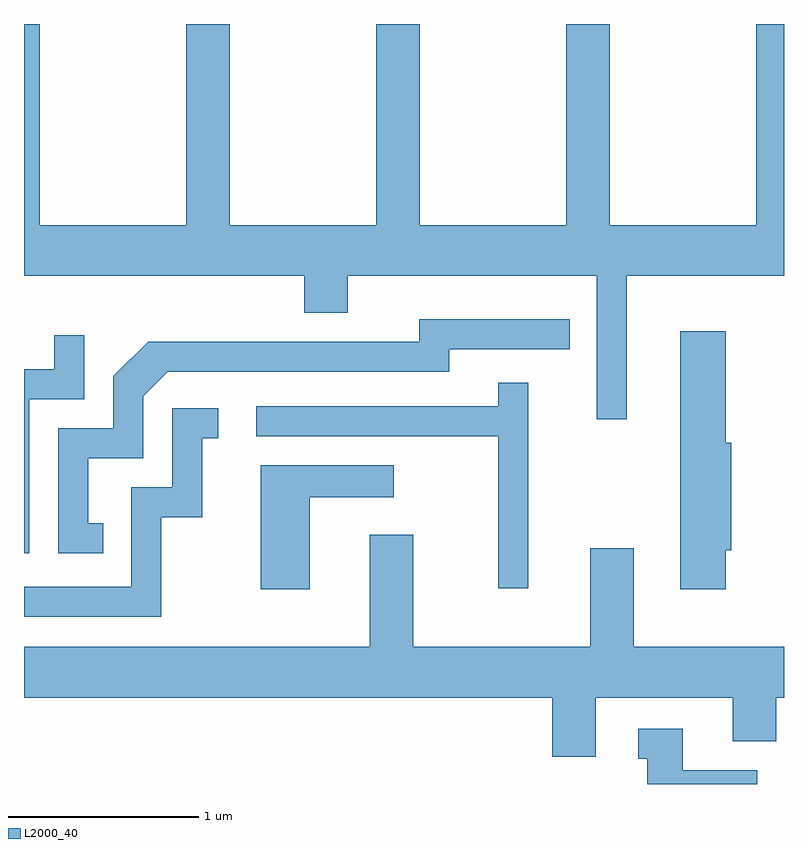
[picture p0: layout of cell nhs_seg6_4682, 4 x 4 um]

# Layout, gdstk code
import gdstk
lib = gdstk.Library(unit=1e-6, precision=1e-09)
def P(c, l, *ps):  # polygons
    for p in ps: c.add(gdstk.Polygon(p, *l))
L2000_40 = (2000, 40)

nhs_seg6_4682 = lib.new_cell('nhs_seg6_4682')
P(nhs_seg6_4682, L2000_40, [(330.784,1638.836),(331.611,1638.836),(331.611,1640.162),(331.466,1640.162),(331.466,1639.104),(330.694,1639.104),(330.694,1640.162),(330.466,1640.162),(330.466,1639.104),(329.694,1639.104),(329.694,1640.162),(329.466,1640.162),(329.466,1639.104),(328.694,1639.104),(328.694,1640.162),(328.466,1640.162),(328.466,1639.104),(327.694,1639.104),(327.694,1640.162),(327.611,1640.162),(327.611,1638.836),(329.086,1638.836),(329.086,1638.641),(329.314,1638.641),(329.314,1638.836),(330.626,1638.836),(330.626,1638.083),(330.784,1638.083)],
  [(328.028,1637.534),(327.949,1637.534),(327.949,1637.876),(328.239,1637.876),(328.239,1638.204),(328.367,1638.331),(329.849,1638.331),(329.849,1638.451),(330.483,1638.451),(330.483,1638.609),(329.691,1638.609),(329.691,1638.489),(328.264,1638.489),(328.081,1638.307),(328.081,1638.034),(327.791,1638.034),(327.791,1637.376),(328.028,1637.376)],
  [(331.304,1637.391),(331.334,1637.391),(331.334,1637.959),(331.304,1637.959),(331.304,1638.544),(331.066,1638.544),(331.066,1637.186),(331.304,1637.186)],
  [(327.639,1638.186),(327.929,1638.186),(327.929,1638.523),(327.771,1638.523),(327.771,1638.344),(327.611,1638.344),(327.611,1637.376),(327.639,1637.376)],
  [(330.264,1638.273),(330.106,1638.273),(330.106,1638.149),(328.833,1638.149),(328.833,1637.991),(330.106,1637.991),(330.106,1637.193),(330.264,1637.193)],
  [(328.334,1637.566),(328.549,1637.566),(328.549,1637.981),(328.633,1637.981),(328.633,1638.139),(328.391,1638.139),(328.391,1637.724),(328.176,1637.724),(328.176,1637.199),(327.611,1637.199),(327.611,1637.041),(328.334,1637.041)],
  [(329.114,1637.671),(329.558,1637.671),(329.558,1637.839),(328.856,1637.839),(328.856,1637.186),(329.114,1637.186)],
  [(330.619,1636.616),(331.341,1636.616),(331.341,1636.386),(331.569,1636.386),(331.569,1636.616),(331.611,1636.616),(331.611,1636.884),(330.819,1636.884),(330.819,1637.404),(330.591,1637.404),(330.591,1636.884),(329.659,1636.884),(329.659,1637.474),(329.431,1637.474),(329.431,1636.884),(327.611,1636.884),(327.611,1636.616),(330.391,1636.616),(330.391,1636.306),(330.619,1636.306)],
  [(331.469,1636.234),(331.079,1636.234),(331.079,1636.454),(330.843,1636.454),(330.843,1636.296),(330.891,1636.296),(330.891,1636.162),(331.469,1636.162)])

lib.write_gds('nhs_seg6_4682.gds')
